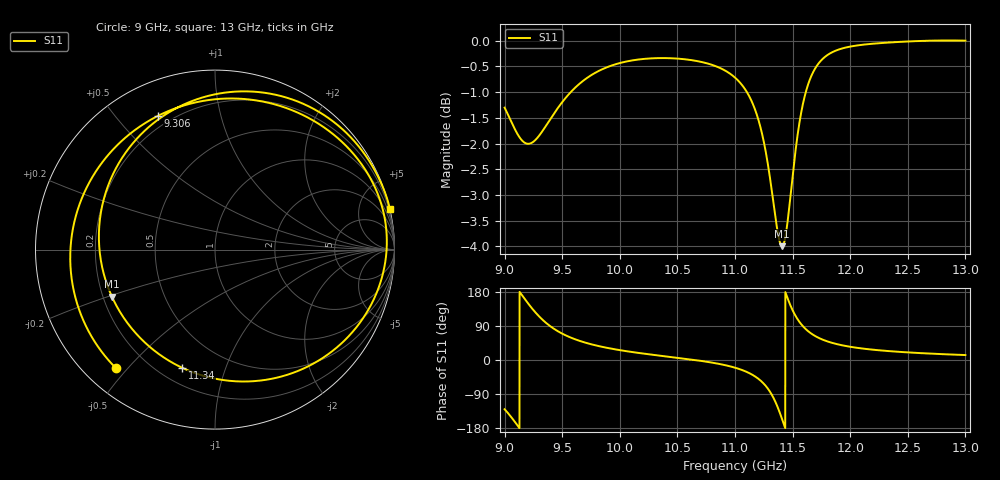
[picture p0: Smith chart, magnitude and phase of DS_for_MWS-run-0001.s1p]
! TOUCHSTONE file generated by CST DESIGN STUDIO
! Date and time: Tue Feb  4 16:42:29 2025
! Project name: C:\Work\MatlabApps\UnitCellOptimizationMatlab\CST\unitcell.cst
! Tree item: Tasks\Sweep1\SPara1\S-Parameters
! Header version: 2024
! Port assignment regex: !\s*Touchstone port\s*([0-9]+)\s*=\s*(CST MWS port|CST DES external port|CST DES block port)\s*(.+)\s* \(\"(.*)\"\)(\s*mode\s*([0-9]+))?.*
! Touchstone port assignment:
! Touchstone port 1 = CST DES external port 1 ("")
# GHz S MA R 50
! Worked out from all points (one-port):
!   4001 points, 9 GHz to 13 GHz, reference 50 ohm
!   lowest |S11| = -4.0 dB at 11.41 GHz (marker M1), VSWR 4.43, Z = 11.8 - j10.3 ohm
!   |S11| at or under -10 dB: nowhere
!   S11 on the Smith chart (normalised r, x): 9 GHz: 0.09, -0.46; 9.306 GHz: 0.15, +0.65; 11.34 GHz: 0.29, -0.72; 13 GHz: 0.01, +8.74
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9  0.8607 -129.9
9.081  0.8236 -160.0
9.143  0.8017 174.3
9.228  0.7948 139.9
9.306  0.8101 113.0
9.39  0.8366 90.6
9.5  0.8713 69.6
9.711  0.919 44.9
10  0.9509 26.0
10.5  0.9604 5.8
10.801  0.947 -6.9
11  0.9205 -20.3
11.114  0.8869 -33.2
11.2  0.8399 -48.9
11.286  0.7577 -75.8
11.343  0.6835 -105.4
11.375  0.6474 -128.0
11.408  0.6313 -155.4
11.452  0.6609 166.6
11.5  0.7384 131.3
11.538  0.8016 110.1
11.58  0.8574 92.5
11.64  0.9102 74.7
11.704  0.9427 61.9
11.827  0.972 46.7
12  0.9866 34.9
12.5  0.9979 20.1
13  0.9998 13.0
